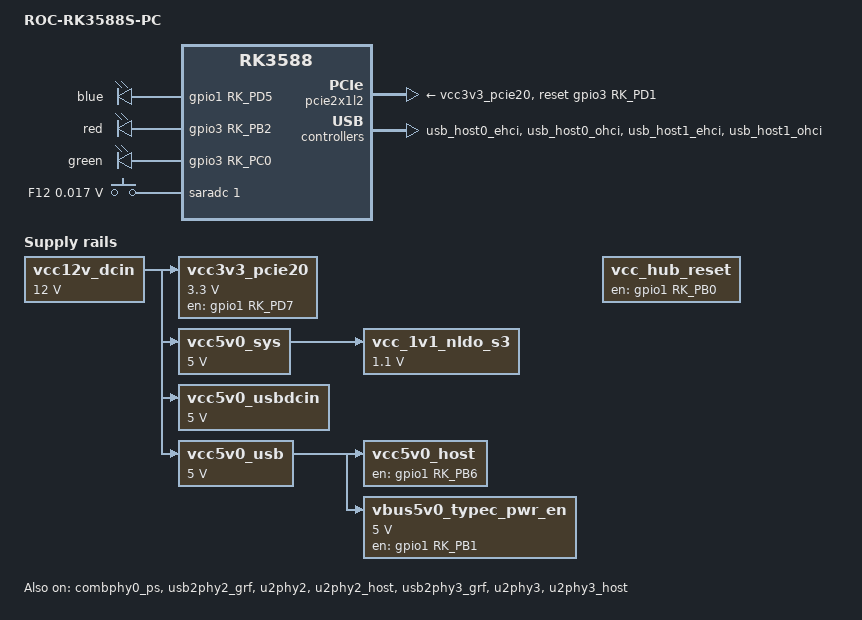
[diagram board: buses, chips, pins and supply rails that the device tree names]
// SPDX-License-Identifier: (GPL-2.0+ OR MIT)
/*
 * Copyright (c) 2021 Rockchip Electronics Co., Ltd
 *
 */

/dts-v1/;
#include "rk3588.dtsi"
#include "rk3588-u-boot.dtsi"
#include <dt-bindings/input/input.h>

/ {
	model = "ROC-RK3588S-PC";
	compatible = "firefly,roc-rk3588s-pc", "firefly,station-m3", "rockchip,rk3588";

	config {
		u-boot,dm-pre-reloc;
		u-boot,boot-led = "red";
	};

	vcc12v_dcin: vcc12v-dcin {
		compatible = "regulator-fixed";
		regulator-name = "vcc12v_dcin";
		regulator-always-on;
		regulator-boot-on;
		regulator-min-microvolt = <12000000>;
		regulator-max-microvolt = <12000000>;
	};

	vcc3v3_pcie20: vcc3v3-pcie20 {
		compatible = "regulator-fixed";
		regulator-name = "vcc3v3_pcie20";
		regulator-min-microvolt = <3300000>;
		regulator-max-microvolt = <3300000>;
		regulator-always-on;
		enable-active-high;
		gpios = <&gpio1 RK_PD7 GPIO_ACTIVE_HIGH>;
		startup-delay-us = <5000>;
		vin-supply = <&vcc12v_dcin>;
	};

	vcc5v0_host: vcc5v0-host {
		status = "okay";
		compatible = "regulator-fixed";
		regulator-name = "vcc5v0_host";
		regulator-boot-on;
		regulator-always-on;
		reset-delay-us = <200000>;
		startup-delay-us = <1200000>;
		enable-active-high;
		gpio = <&gpio1 RK_PB6 GPIO_ACTIVE_HIGH>;
		pinctrl-names = "default";
		pinctrl-0 = <&vcc5v0_host_en>;
		vin-supply = <&vcc5v0_usb>;
	};

	vcc5v0_sys: vcc5v0-sys {
		compatible = "regulator-fixed";
		regulator-name = "vcc5v0_sys";
		regulator-always-on;
		regulator-boot-on;
		regulator-min-microvolt = <5000000>;
		regulator-max-microvolt = <5000000>;
		vin-supply = <&vcc12v_dcin>;
	};

	vbus5v0_typec_pwr_en: vbus5v0-typec-pwr-en-regulator {
		status = "okay";
		compatible = "regulator-fixed";
		enable-active-high;
		regulator-name = "vbus5v0_typec_pwr_en";
		regulator-min-microvolt = <5000000>;
		regulator-max-microvolt = <5000000>;
		gpio = <&gpio1 RK_PB1 GPIO_ACTIVE_HIGH>;
		vin-supply = <&vcc5v0_usb>;
		pinctrl-names = "default";
		pinctrl-0 = <&typec5v_pwren>;
	};

	vcc5v0_usbdcin: vcc5v0-usbdcin {
		compatible = "regulator-fixed";
		regulator-name = "vcc5v0_usbdcin";
		regulator-always-on;
		regulator-boot-on;
		regulator-min-microvolt = <5000000>;
		regulator-max-microvolt = <5000000>;
		vin-supply = <&vcc12v_dcin>;
	};

	vcc5v0_usb: vcc5v0-usb {
		compatible = "regulator-fixed";
		regulator-name = "vcc5v0_usb";
		regulator-always-on;
		regulator-boot-on;
		regulator-min-microvolt = <5000000>;
		regulator-max-microvolt = <5000000>;
		vin-supply = <&vcc12v_dcin>;
	};

	vcc_1v1_nldo_s3: vcc-1v1-nldo-s3 {
		compatible = "regulator-fixed";
		regulator-name = "vcc_1v1_nldo_s3";
		regulator-always-on;
		regulator-boot-on;
		regulator-min-microvolt = <1100000>;
		regulator-max-microvolt = <1100000>;
		vin-supply = <&vcc5v0_sys>;
	};

	vcc_hub_reset: vcc-hub-reset-regulator {
		status = "okay";
		compatible = "regulator-fixed"; 
		regulator-name = "vcc_hub_reset";
		regulator-boot-on;
		regulator-always-on; 
		enable-active-high;
		gpio = <&gpio1 RK_PB0 GPIO_ACTIVE_HIGH>;
	};

	firefly_leds: leds {
		status = "okay";
		u-boot,dm-pre-reloc;
		compatible = "gpio-leds";
		pinctrl-names = "default";
		pinctrl-0 =<&leds_gpio>;
		blue_led: blue-led {
			u-boot,dm-pre-reloc;
			label = "blue";
			default-state = "on";
			gpios = <&gpio1 RK_PD5 GPIO_ACTIVE_HIGH>;//blue led
		};

		red_led: red-led {
			u-boot,dm-pre-reloc;
			label = "red";
			default-state = "off";
			gpios = <&gpio3 RK_PB2 GPIO_ACTIVE_HIGH>;//red led
		};

		green_led: green-led {
			u-boot,dm-pre-reloc;
			label = "green"; 
			default-state = "off";
			gpios = <&gpio3 RK_PC0 GPIO_ACTIVE_HIGH>;//green led
		};
	};

	adc_keys: adc-keys {
		status = "okay";
		u-boot,dm-pre-reloc;
		compatible = "adc-keys";
		io-channels = <&saradc 1>;
		io-channel-names = "buttons";
		keyup-threshold-microvolt = <1800000>;
		poll-interval = <100>;

		recovery-key{
			u-boot,dm-pre-reloc;
			label = "F12";
			linux,code = <KEY_F12>;
			press-threshold-microvolt = <17000>;
		};
	};
};

&combphy0_ps {
	status = "okay";
	u-boot,dm-pre-reloc;
};

&pcie2x1l2 {
	status = "okay";
	reset-gpios = <&gpio3 RK_PD1 GPIO_ACTIVE_HIGH>;
	u-boot,dm-pre-reloc;
	vpcie3v3-supply = <&vcc3v3_pcie20>;
};

&usb_host0_ehci {
	status = "okay";
	u-boot,dm-pre-reloc;
};

&usb_host0_ohci {
	status = "okay";
	u-boot,dm-pre-reloc;
};

&usb2phy2_grf {
	status = "okay";
	u-boot,dm-pre-reloc;
};

&u2phy2 {
	status = "okay";
	u-boot,dm-pre-reloc;
};

&u2phy2_host {
	status = "okay";
	u-boot,dm-pre-reloc;
};

&usb_host1_ehci {
	status = "okay";
	u-boot,dm-pre-reloc;
};

&usb_host1_ohci {
	status = "okay";
	u-boot,dm-pre-reloc;
};

&usb2phy3_grf {
	status = "okay";
	u-boot,dm-pre-reloc;
};

&u2phy3 {
	status = "okay";
	u-boot,dm-pre-reloc;
};

&u2phy3_host {
	status = "okay";
	u-boot,dm-pre-reloc;
};

&gmac0 {
	status = "disabled";
	u-boot,dm-pre-reloc;
};

&pinctrl {
	leds {
		leds_gpio: leds-gpio {
			rockchip,pins =
				/* led_user */
				<3 RK_PB2 RK_FUNC_GPIO &pcfg_pull_none>,
				/* led_power */
				<1 RK_PD5 RK_FUNC_GPIO &pcfg_pull_none>,
				/* led_user1 */
				<3 RK_PC0 RK_FUNC_GPIO &pcfg_pull_none>;
		};
	};

	usb {
		vcc5v0_host_en: vcc5v0-host-en {
			rockchip,pins = <1 RK_PB6 RK_FUNC_GPIO &pcfg_pull_none>;
		};
	};

	usb-typec {
		usbc0_int: usbc0-int {
			rockchip,pins = <0 RK_PC4 RK_FUNC_GPIO &pcfg_pull_up>;
		};

		typec5v_pwren: typec5v-pwren {
			rockchip,pins = <1 RK_PB1 RK_FUNC_GPIO &pcfg_pull_none>;
		};
	};
};
